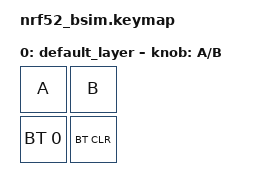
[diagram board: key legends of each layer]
#include <behaviors.dtsi>
#include <dt-bindings/zmk/bt.h>
#include <dt-bindings/zmk/keys.h>

#include "shared.dtsi"

&matrix {
    /delete-property/ exit-after;
    events = <>;
};
/ {
    keymap {
        compatible = "zmk,keymap";

        default_layer {
            bindings = <
            &kp A &kp B
            &bt BT_SEL 0 &bt BT_CLR>;

            sensor-bindings = <&inc_dec_kp A B>;
        };
    };
};
